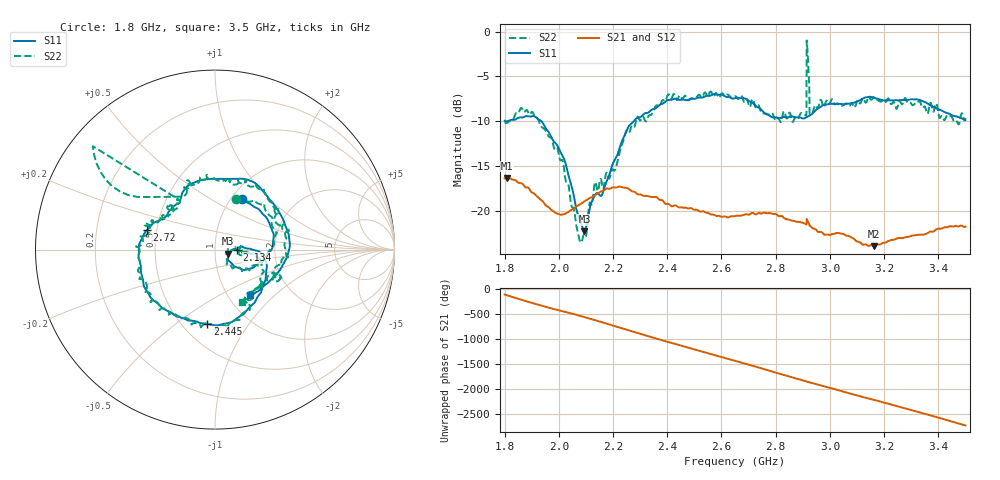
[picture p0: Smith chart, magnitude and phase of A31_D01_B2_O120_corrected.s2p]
! Created with skrf 1.9.0 (http://scikit-rf.org).
# Hz S RI R 50.0
!freq ReS11 ImS11 ReS21 ImS21 ReS12 ImS12 ReS22 ImS22
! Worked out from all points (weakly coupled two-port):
!   1601 points, 1.8 GHz to 3.5 GHz, reference 50 ohm
!   highest |S21| = -16.35 dB at 1.808 GHz (marker M1); lowest = -24.0 dB at 3.163 GHz (marker M2)
!   lowest |S11| = -22.3 dB at 2.094 GHz (marker M3), VSWR 1.17, Z = 57.9 - j2.63 ohm
!   |S11| at or under -10 dB: 1.804102 GHz to 1.812415 GHz (8.313 MHz wide, 0.46 % of centre); 1.936 GHz to 2.277 GHz (340.9 MHz wide, 16.2 % of centre)
!   |S22| runs from -23.6 to -1.0 dB; largest |S21 - S12| = 0.0029
!   S11 on the Smith chart (normalised r, x): 1.8 GHz: 1.12, +0.70; 2.134 GHz: 1.28, -0.00; 2.445 GHz: 0.66, -0.66; 2.72 GHz: 0.44, +0.11; 3.5 GHz: 1.26, -0.71
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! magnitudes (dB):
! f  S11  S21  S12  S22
! 1.8 GHz  -10.0  -16.4  -16.4  -10.2
! 1.808 GHz  -10.0  -16.3  -16.4  -10.2
! 1.88 GHz  -9.4  -17.4  -17.4  -8.8
! 1.969 GHz  -11.6  -19.8  -19.8  -11.8
! 2.021 GHz  -14.3  -20.4  -20.4  -15.7
! 2.084 GHz  -21.5  -19.2  -19.1  -23.4
! 2.094 GHz  -22.3  -19.0  -19.0  -22.7
! 2.134 GHz  -18.2  -18.3  -18.3  -16.8
! 2.208 GHz  -14.2  -17.4  -17.4  -15.4
! 2.26 GHz  -10.5  -17.6  -17.6  -11.3
! 2.367 GHz  -8.3  -18.7  -18.6  -8.3
! 2.445 GHz  -7.6  -19.6  -19.6  -7.1
! 2.65 GHz  -7.4  -20.6  -20.6  -7.2
! 2.72 GHz  -8.1  -20.3  -20.2  -7.9
! 2.868 GHz  -9.5  -21.1  -21.1  -9.8
! 2.905 GHz  -9.7  -21.4  -21.4  -9.2
! 2.915 GHz  -9.5  -20.9  -20.9  -1.0
! 2.923 GHz  -9.4  -21.5  -21.4  -5.6
! 2.934 GHz  -9.2  -21.9  -21.9  -9.2
! 3.163 GHz  -7.4  -24.0  -23.9  -7.3
! 3.217 GHz  -7.7  -23.4  -23.3  -7.5
! 3.5 GHz  -9.9  -21.8  -21.8  -9.6
